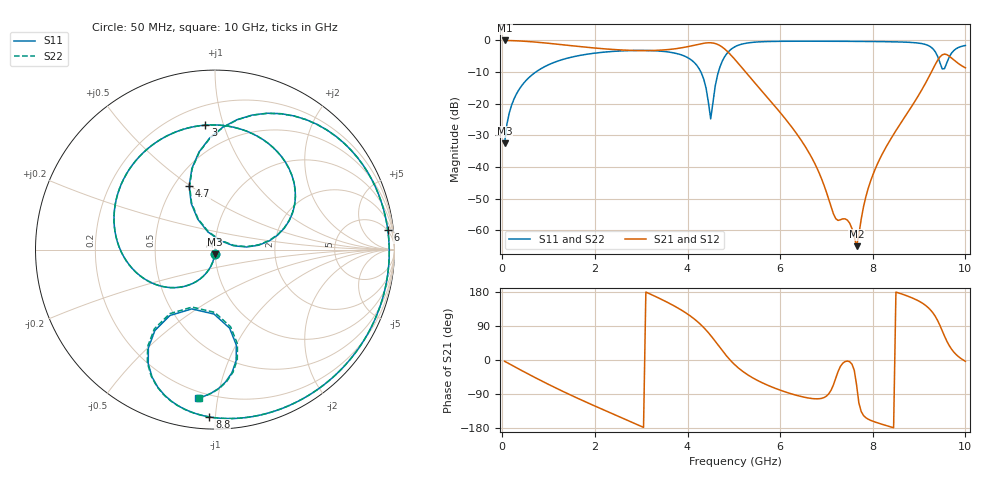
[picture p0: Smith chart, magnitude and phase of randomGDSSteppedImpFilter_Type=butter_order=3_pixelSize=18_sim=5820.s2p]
! freq	dB(S11)	phase(S11)	dB(S12)	phase(S12)
!  dB(S21)	phase(S21)	dB(S22)	phase(S22)
!S-par simulation data
#  GHz  S  DB  R 50
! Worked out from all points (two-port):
!   200 points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, 50 MHz to 10 GHz, reference 50 ohm
!   highest |S21| = -0.01 dB at 50 MHz (marker M1); lowest = -65.0 dB at 7.65 GHz (marker M2)
!   |S21| within 3 dB of the highest: start of sweep to 2.563 GHz; 3.484 GHz to 4.825 GHz (1.341 GHz wide, 32.3 % of centre)
!   lowest |S11| = -32.4 dB at 50 MHz (marker M3), VSWR 1.05, Z = 49.8 - j2.37 ohm
!   |S11| at or under -10 dB: start of sweep to 722 MHz; 4.288 GHz to 4.666 GHz (378 MHz wide, 8.44 % of centre)
!   |S22| runs from -32.4 to -0.2 dB; largest |S21 - S12| = 0
!   S11 on the Smith chart (normalised r, x): 50 MHz: 1.00, -0.05; 3 GHz: 0.32, +0.87; 4.7 GHz: 0.60, +0.49; 6 GHz: 5, +17; 8.8 GHz: 0.07, -0.96; 10 GHz: 0.16, -0.88
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0.05  -32.44 -93.4  -0.01 -3.4  -0.01 -3.4  -32.45 -93.4
0.2  -20.49 -103.8  -0.06 -13.4  -0.06 -13.4  -20.49 -103.8
0.5  -12.86 -123.6  -0.28 -33.1  -0.28 -33.1  -12.88 -123.6
1.75  -4.54 161.5  -2.05 -107.8  -2.05 -107.8  -4.54 161.5
3  -3.16 94.5  -3.21 -175.1  -3.21 -175.1  -3.16 94.6
3.4  -3.36 72.3  -3.09 162.2  -3.09 162.2  -3.36 72.3
4.2  -7.86 17.2  -1.34 102.8  -1.34 102.8  -7.86 17.5
4.5  -24.78 59.0  -0.74 64.8  -0.74 64.8  -24.40 59.2
4.7  -8.36 112.1  -1.63 32.8  -1.63 32.8  -8.35 111.7
5.05  -1.80 69.2  -6.47 -15.9  -6.47 -15.9  -1.80 69.0
6  -0.27 6.4  -22.76 -79.6  -22.76 -79.6  -0.27 6.3
6.7  -0.24 -22.2  -37.53 -101.9  -37.53 -101.9  -0.24 -22.2
7.2  -0.26 -39.6  -56.30 -48.5  -56.30 -48.5  -0.26 -39.7
7.5  -0.28 -49.4  -57.70 -4.5  -57.70 -4.5  -0.29 -49.5
7.65  -0.30 -54.2  -65.00 -65.5  -65.00 -65.5  -0.30 -54.3
7.9  -0.33 -62.0  -46.80 -156.1  -46.80 -156.1  -0.33 -62.1
8.35  -0.40 -76.2  -32.09 -175.1  -32.09 -175.1  -0.41 -76.3
8.8  -0.60 -91.9  -21.75 166.4  -21.75 166.4  -0.61 -92.1
9.3  -2.64 -120.3  -9.00 124.2  -9.00 124.2  -2.67 -120.8
9.5  -9.00 -111.4  -4.54 77.2  -4.54 77.2  -9.25 -111.8
9.65  -5.26 -77.4  -4.95 38.2  -4.95 38.2  -5.33 -76.6
10  -1.59 -96.6  -8.65 -3.4  -8.65 -3.4  -1.60 -96.3
